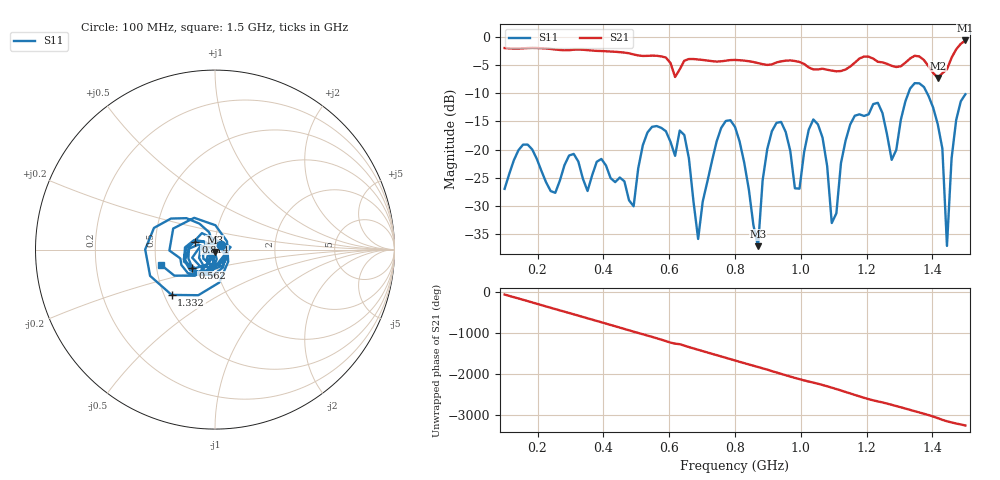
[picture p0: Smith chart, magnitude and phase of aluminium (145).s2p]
! NanoVNA-App
! Date: 2025-09-25 14:56:24
! Start: 100MHz Stop: 1,5GHz Points: 101
! S-Parameter data: F S11 S21 S12 S22
# Hz S RI R 50
!  Frequency  S11_Real  S11_Imag  S21_Real  S21_Imag  S12_Real  S12_Imag  S22_Real  S22_Imag
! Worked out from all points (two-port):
!   101 points, 100 MHz to 1.5 GHz, reference 50 ohm
!   highest |S21| = -0.57 dB at 1.5 GHz (marker M1); lowest = -7.2 dB at 1.416 GHz (marker M2)
!   |S21| within 3 dB of the highest: start of sweep to 587.2 MHz; 1.459 GHz to end of sweep (the widest 2 of 4)
!   lowest |S11| = -37.2 dB at 870 MHz (marker M3), VSWR 1.03, Z = 49.9 - j1.37 ohm
!   |S11| at or under -10 dB: start of sweep to 1.327 GHz; 1.384 GHz to end of sweep
!   S12 and S22 are empty: the file has one direction only
!   S11 on the Smith chart (normalised r, x): 100 MHz: 1.07, +0.06; 562 MHz: 0.76, -0.16; 814 MHz: 0.80, +0.07; 1.332 GHz: 0.55, -0.31; 1.5 GHz: 0.53, -0.10
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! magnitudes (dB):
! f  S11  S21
! 100 MHz  -27.0  -1.9
! 156 MHz  -19.1  -2.0
! 338 MHz  -25.2  -2.2
! 492 MHz  -30.1  -3.1
! 562 MHz  -15.8  -3.3
! 576 MHz  -16.1  -3.4
! 646 MHz  -17.4  -4.2
! 688 MHz  -35.9  -4.0
! 800 MHz  -16.0  -4.0
! 814 MHz  -18.6  -4.1
! 870 MHz  -37.2  -4.6
! 912 MHz  -16.7  -4.8
! 996 MHz  -27.0  -4.4
! 1.038 GHz  -14.6  -5.7
! 1.094 GHz  -33.1  -5.9
! 1.164 GHz  -14.0  -4.5
! 1.276 GHz  -21.8  -5.1
! 1.332 GHz  -9.1  -3.8
! 1.416 GHz  -15.5  -7.2
! 1.444 GHz  -37.2  -5.7
! 1.472 GHz  -14.7  -2.2
! 1.5 GHz  -10.1  -0.6
